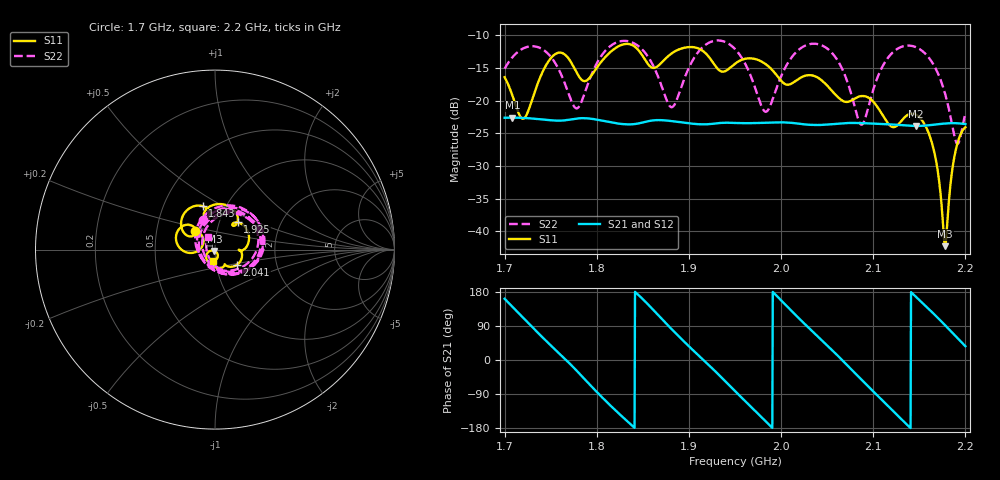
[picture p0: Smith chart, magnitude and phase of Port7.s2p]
# Hz S RI R 50
! CMT, CMT808U, 21440046, 21.4.3/4
! Date: 6/12/2026 9:30:12 AM
! Data: Format (Calibration Info)
! Freq	S11:Re/Im(F2)	S41:Re/Im(F2)	S14:Re/Im(F2)	S44:Re/Im(F2)
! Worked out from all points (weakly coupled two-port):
!   1001 points, 1.7 GHz to 2.2 GHz, reference 50 ohm
!   highest |S21| = -22.61 dB at 1.708 GHz (marker M1); lowest = -23.9 dB at 2.147 GHz (marker M2)
!   lowest |S11| = -42.2 dB at 2.178 GHz (marker M3), VSWR 1.02, Z = 49.7 - j0.712 ohm
!   |S11| at or under -10 dB: start of sweep to end of sweep
!   |S22| runs from -26.6 to -10.8 dB; largest |S21 - S12| = 0.0012
!   S11 on the Smith chart (normalised r, x): 1.7 GHz: 0.78, +0.16; 1.843 GHz: 0.78, +0.40; 1.925 GHz: 1.22, +0.39; 2.041 GHz: 1.26, -0.22; 2.2 GHz: 0.97, -0.12
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1.7e9  -0.1119 0.101  -0.07 0.0233  -0.0701 0.0223  -0.0641 0.1627
1.7085e9  -0.0742 0.0797  -0.0571 0.0471  -0.0575 0.0461  0.00597 0.2141
1.7215e9  -0.071 0.0186  -0.0228 0.07  -0.0237 0.0693  0.1378 0.2115
1.7425e9  -0.1724 -0.0096  0.0395 0.0597  0.0384 0.0599  0.2403 0.0326
1.762e9  -0.202 0.1123  0.069 0.0132  0.0685 0.0143  0.1036 -0.1145
1.7835e9  -0.1073 0.0963  0.0546 -0.049  0.0551 -0.0479  -0.0981 -0.00391
1.8135e9  -0.1883 0.1321  -0.0311 -0.061  -0.0301 -0.0613  0.0712 0.2462
1.843e9  -0.0693 0.2421  -0.0663 0.00402  -0.0661 0.003  0.2664 0.0171
1.867e9  -0.0565 0.176  -0.0328 0.0629  -0.0336 0.0621  0.0589 -0.1372
1.8825e9  -0.0463 0.2275  0.014 0.0681  0.0129 0.0681  -0.085 -0.0282
1.925e9  0.1259 0.1554  0.0618 -0.0241  0.0621 -0.023  0.2084 0.1908
1.95e9  0.1161 0.1517  0.00932 -0.0668  0.0105 -0.0664  0.2393 -0.0625
1.9835e9  0.1855 0.0363  -0.0644 -0.0207  -0.0639 -0.0218  -0.0756 -0.0318
2.0335e9  0.1422 -0.063  0.0147 0.0635  0.0136 0.0636  0.2448 0.1168
2.0405e9  0.1221 -0.085  0.0317 0.0568  0.0307 0.0573  0.2648 0.0483
2.087e9  0.0396 -0.1006  0.0421 -0.0524  0.0429 -0.0516  -0.0604 -0.0252
2.117e9  -0.0102 -0.0648  -0.0367 -0.0547  -0.0356 -0.0552  0.0813 0.2006
2.1465e9  -0.038 -0.0681  -0.0622 0.015  -0.0624 0.0138  0.2546 0.018
2.1655e9  -0.0394 -0.0158  -0.0348 0.0552  -0.0358 0.0546  0.1459 -0.1176
2.178e9  -0.0029 -0.00716  -0.00199 0.0667  -0.00318 0.0666  0.0294 -0.1085
2.1905e9  0.0144 -0.0423  0.0334 0.0582  0.0323 0.0587  -0.0435 -0.0183
2.2e9  -0.0108 -0.0615  0.0532 0.0391  0.0525 0.0401  -0.0399 0.0704
